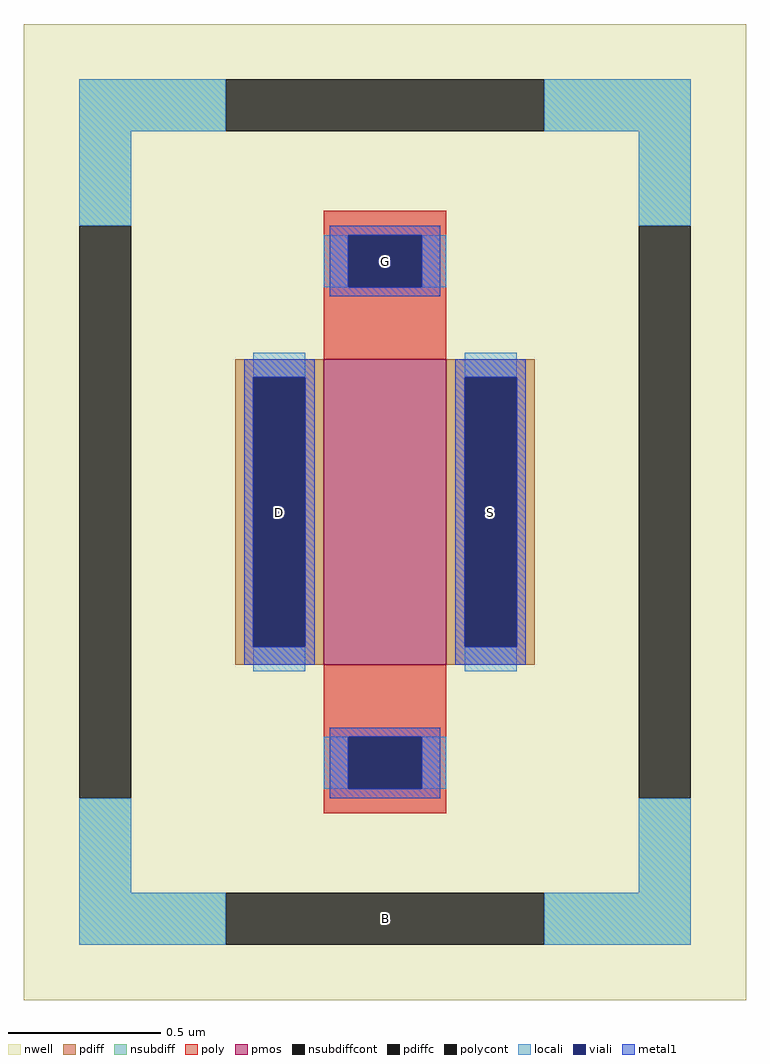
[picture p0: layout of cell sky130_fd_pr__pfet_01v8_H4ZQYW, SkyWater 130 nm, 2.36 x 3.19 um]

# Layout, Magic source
magic
tech sky130A
magscale 1 2
<< nwell >>
rect -236 -319 236 319
<< pmos >>
rect -40 -100 40 100
<< pdiff >>
rect -98 88 -40 100
rect -98 -88 -86 88
rect -52 -88 -40 88
rect -98 -100 -40 -88
rect 40 88 98 100
rect 40 -88 52 88
rect 86 -88 98 88
rect 40 -100 98 -88
<< pdiffc >>
rect -86 -88 -52 88
rect 52 -88 86 88
<< nsubdiff >>
rect -200 249 -104 283
rect 104 249 200 283
rect -200 187 -166 249
rect 166 187 200 249
rect -200 -249 -166 -187
rect 166 -249 200 -187
rect -200 -283 -104 -249
rect 104 -283 200 -249
<< nsubdiffcont >>
rect -104 249 104 283
rect -200 -187 -166 187
rect 166 -187 200 187
rect -104 -283 104 -249
<< poly >>
rect -40 181 40 197
rect -40 147 -24 181
rect 24 147 40 181
rect -40 100 40 147
rect -40 -147 40 -100
rect -40 -181 -24 -147
rect 24 -181 40 -147
rect -40 -197 40 -181
<< polycont >>
rect -24 147 24 181
rect -24 -181 24 -147
<< locali >>
rect -200 249 -104 283
rect 104 249 200 283
rect -200 187 -166 249
rect 166 187 200 249
rect -40 147 -24 181
rect 24 147 40 181
rect -86 88 -52 104
rect -86 -104 -52 -88
rect 52 88 86 104
rect 52 -104 86 -88
rect -40 -181 -24 -147
rect 24 -181 40 -147
rect -200 -249 -166 -187
rect 166 -249 200 -187
rect -200 -283 -104 -249
rect 104 -283 200 -249
<< viali >>
rect -24 147 24 181
rect -86 -88 -52 88
rect 52 -88 86 88
rect -24 -181 24 -147
<< metal1 >>
rect -36 181 36 187
rect -36 147 -24 181
rect 24 147 36 181
rect -36 141 36 147
rect -92 88 -46 100
rect -92 -88 -86 88
rect -52 -88 -46 88
rect -92 -100 -46 -88
rect 46 88 92 100
rect 46 -88 52 88
rect 86 -88 92 88
rect 46 -100 92 -88
rect -36 -147 36 -141
rect -36 -181 -24 -147
rect 24 -181 36 -147
rect -36 -187 36 -181
<< labels >>
rlabel nsubdiffcont 0 -266 0 -266 0 B
port 9 nsew
rlabel pdiffc -69 0 -69 0 0 D
port 10 nsew
rlabel pdiffc 69 0 69 0 0 S
port 11 nsew
rlabel polycont 0 164 0 164 0 G
port 12 nsew
<< properties >>
string FIXED_BBOX -183 -266 183 266
string gencell sky130_fd_pr__pfet_01v8
string library sky130
string parameters w 1.0 l 0.4 m 1 nf 1 diffcov 100 polycov 100 guard 1 glc 1 grc 1 gtc 1 gbc 1 tbcov 100 rlcov 100 topc 1 botc 1 poverlap 0 doverlap 1 lmin 0.15 wmin 0.42 class mosfet compatible {sky130_fd_pr__pfet_01v8  sky130_fd_pr__pfet_01v8_lvt sky130_fd_pr__pfet_01v8_hvt  sky130_fd_pr__pfet_g5v0d10v5} full_metal 1 conn_gates 0 viasrc 100 viadrn 100 viagate 100 viagb 0 viagr 0 viagl 0 viagt 0 doports 1 ad 0.29 as 0.29 pd 2.58 ps 2.58 nrd 0.29 nrs 0.29 sa 0 sb 0 sd 0 mult 1
<< end >>
